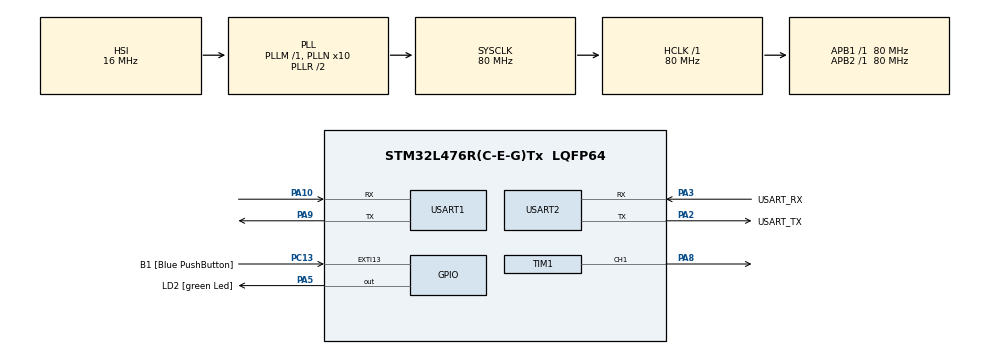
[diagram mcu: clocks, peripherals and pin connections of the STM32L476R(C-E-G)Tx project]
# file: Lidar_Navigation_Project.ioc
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Mcu.Family=STM32L4
Mcu.Name=STM32L476R(C-E-G)Tx
Mcu.Package=LQFP64
NVIC.PriorityGroup=NVIC_PRIORITYGROUP_4
NVIC.USART1_IRQn=true\:0\:0\:false\:false\:true\:true\:true\:true
PA10.Mode=Asynchronous
PA10.Signal=USART1_RX
PA13\ (JTMS-SWDIO).GPIO_Label=TMS
PA13\ (JTMS-SWDIO).Mode=Serial_Wire
PA13\ (JTMS-SWDIO).Signal=SYS_JTMS-SWDIO
PA14\ (JTCK-SWCLK).GPIO_Label=TCK
PA14\ (JTCK-SWCLK).Mode=Serial_Wire
PA14\ (JTCK-SWCLK).Signal=SYS_JTCK-SWCLK
PA2.GPIO_Label=USART_TX
PA2.GPIO_Mode=GPIO_MODE_AF_PP
PA2.GPIO_PuPd=GPIO_NOPULL
PA2.GPIO_Speed=GPIO_SPEED_FREQ_VERY_HIGH
PA2.Mode=Asynchronous
PA2.Signal=USART2_TX
PA3.GPIO_Label=USART_RX
PA3.GPIO_Mode=GPIO_MODE_AF_PP
PA3.GPIO_PuPd=GPIO_NOPULL
PA3.GPIO_Speed=GPIO_SPEED_FREQ_VERY_HIGH
PA3.Mode=Asynchronous
PA3.Signal=USART2_RX
PA5.GPIO_Label=LD2 [green Led]
PA5.GPIO_ModeDefaultOutputPP=GPIO_MODE_OUTPUT_PP
PA5.GPIO_PuPd=GPIO_NOPULL
PA5.GPIO_Speed=GPIO_SPEED_FREQ_LOW
PA5.Signal=GPIO_Output
PA8.Signal=S_TIM1_CH1
PA9.Mode=Asynchronous
PA9.Signal=USART1_TX
PB3\ (JTDO-TRACESWO).GPIO_Label=SWO
PB3\ (JTDO-TRACESWO).Signal=SYS_JTDO-SWO
PC13.GPIO_Label=B1 [Blue PushButton]
PC13.GPIO_ModeDefaultEXTI=GPIO_MODE_IT_FALLING
PC13.GPIO_PuPd=GPIO_NOPULL
PC13.Signal=GPXTI13
PC14-OSC32_IN\ (PC14).Mode=LSE-External-Oscillator
PC14-OSC32_IN\ (PC14).Signal=RCC_OSC32_IN
PC15-OSC32_OUT\ (PC15).Mode=LSE-External-Oscillator
PC15-OSC32_OUT\ (PC15).Signal=RCC_OSC32_OUT
PH0-OSC_IN\ (PH0).Signal=RCC_OSC_IN
PH1-OSC_OUT\ (PH1).Signal=RCC_OSC_OUT
ProjectManager.HeapSize=0x200
ProjectManager.StackSize=0x400
ProjectManager.TargetToolchain=STM32CubeIDE
RCC.ADCFreq_Value=64000000
RCC.AHBFreq_Value=80000000
RCC.APB1Freq_Value=80000000
RCC.APB1TimFreq_Value=80000000
RCC.APB2Freq_Value=80000000
RCC.APB2TimFreq_Value=80000000
RCC.CortexFreq_Value=80000000
RCC.HCLKFreq_Value=80000000
RCC.HSE_VALUE=8000000
RCC.HSI_VALUE=16000000
RCC.MSI_VALUE=4000000
RCC.PLLN=10
RCC.PLLSourceVirtual=RCC_PLLSOURCE_HSI
RCC.PREFETCH_ENABLE=1
RCC.SYSCLKFreq_VALUE=80000000
RCC.SYSCLKSource=RCC_SYSCLKSOURCE_PLLCLK
RCC.USBFreq_Value=64000000
RCC.VCOOutputFreq_Value=160000000
SH.S_TIM1_CH1.0=TIM1_CH1,PWM Generation1 CH1
TIM1.Channel-PWM\ Generation1\ CH1=TIM_CHANNEL_1
TIM1.Period=999
TIM1.Prescaler=79
USART1.VirtualMode-Asynchronous=VM_ASYNC
USART2.VirtualMode-Asynchronous=VM_ASYNC
board=NUCLEO-L476RG

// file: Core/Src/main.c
/* USER CODE BEGIN Header */
/**
  ******************************************************************************
  * @file           : main.c
  * @brief          : Main program body
  ******************************************************************************
  * @attention
  *
  * Copyright (c) 2026 STMicroelectronics.
  * All rights reserved.
  *
  * This software is licensed under terms that can be found in the LICENSE file
  * in the root directory of this software component.
  * If no LICENSE file comes with this software, it is provided AS-IS.
  *
  ******************************************************************************
  */
/* USER CODE END Header */
#include "main.h"

/* USER CODE BEGIN Includes */
#include <stdio.h>
#include <string.h>
/* USER CODE END Includes */

TIM_HandleTypeDef htim1;

UART_HandleTypeDef huart1;
UART_HandleTypeDef huart2;

/* USER CODE BEGIN PV */
float PWM_Duty_Cycle;
int PWM_Period = 1000;

// TF-Luna receive buffer (1 byte at a time)
uint8_t tf_rx_byte;

// Frame buffer (TF-Luna sends 9 bytes per frame)
uint8_t tf_frame[9];
uint8_t tf_index = 0;

// Parsed values
uint16_t tf_distance_cm;
uint16_t tf_strength = 0;
float tf_temperature = 0;

// Message buffer for UART1 (PuTTY)
char msg[100];
/* USER CODE END PV */

void SystemClock_Config(void);
static void MX_GPIO_Init(void);
static void MX_TIM1_Init(void);
static void MX_USART1_UART_Init(void);
static void MX_USART2_UART_Init(void);
/* USER CODE BEGIN PFP */
void TF_Luna_Start(void);
void TF_Luna_Process(uint8_t byte);
void UART_Print(char *str);
void Vibration_Small(void);
/* USER CODE END PFP */

/* USER CODE BEGIN 0 */
// Start receiving TF-Luna data (interrupt mode)
void TF_Luna_Start(void)
{
    HAL_UART_Receive_IT(&huart1, &tf_rx_byte, 1);
}

// Send string to PuTTY via USART1
void UART_Print(char *str)
{
    HAL_UART_Transmit(&huart2, (uint8_t*)str, strlen(str), HAL_MAX_DELAY);
}

// Process incoming TF-Luna bytes
void TF_Luna_Process(uint8_t byte)
{
    static uint8_t prev_byte = 0;

    // Detect header
    if (prev_byte == 0x59 && byte == 0x59)
    {
        tf_frame[0] = 0x59;
        tf_frame[1] = 0x59;
        tf_index = 2;
        prev_byte = byte;
        return;
    }

    prev_byte = byte;

    // Store bytes
    if (tf_index >= 2 && tf_index < 9)
    {
        tf_frame[tf_index++] = byte;
    }
    else
    {
        tf_index = 0;  // RESET if misaligned
    }

    // Process full frame
    if (tf_index == 9)
    {
        uint8_t checksum = 0;
        for (int i = 0; i < 8; i++)
            checksum += tf_frame[i];

        if (checksum == tf_frame[8])
        {
            tf_distance_cm = tf_frame[2] | (tf_frame[3] << 8);
            tf_strength    = tf_frame[4] | (tf_frame[5] << 8);

            uint16_t temp_raw = tf_frame[6] | (tf_frame[7] << 8);
            tf_temperature = (temp_raw / 8.0f) - 256;

            snprintf(msg, sizeof(msg),
                     "Distance: %d cm | Strength: %d | Temp: %.2f C\r\n",
                     tf_distance_cm, tf_strength, tf_temperature);
            UART_Print(msg);
        }

        tf_index = 0;
    }
}

void Vibration_Toggle()
{

	HAL_TIM_PWM_Start(&htim1, TIM_CHANNEL_1);

	// Set duty cycle (50%)
	__HAL_TIM_SET_COMPARE(&htim1, TIM_CHANNEL_1, 500);

	HAL_Delay(2000);

	HAL_TIM_PWM_Stop(&htim1, TIM_CHANNEL_1);
	__HAL_TIM_MOE_DISABLE(&htim1);
}

void Vibration_Three_Buzz()
{
	//Starts PWM and associated timer
	HAL_TIM_PWM_Start(&htim1, TIM_CHANNEL_1);

	//Set duty cycle (100%)
	__HAL_TIM_SET_COMPARE(&htim1, TIM_CHANNEL_1, 500);

	HAL_Delay(240);

	HAL_TIM_PWM_Stop(&htim1, TIM_CHANNEL_1);
	__HAL_TIM_MOE_DISABLE(&htim1);

	HAL_Delay(50);

	HAL_TIM_PWM_Start(&htim1, TIM_CHANNEL_1);

	//Set duty cycle (100%)
	__HAL_TIM_SET_COMPARE(&htim1, TIM_CHANNEL_1, 1000);

	HAL_Delay(240);

	HAL_TIM_PWM_Stop(&htim1, TIM_CHANNEL_1);
	__HAL_TIM_MOE_DISABLE(&htim1);

	HAL_Delay(50);

	HAL_TIM_PWM_Start(&htim1, TIM_CHANNEL_1);

	//Set duty cycle (100%)
	__HAL_TIM_SET_COMPARE(&htim1, TIM_CHANNEL_1, 1000);

	HAL_Delay(240);

	HAL_TIM_PWM_Stop(&htim1, TIM_CHANNEL_1);
	__HAL_TIM_MOE_DISABLE(&htim1);

}

void Vibration_Maximum()
{

	//Set duty cycle (100%)
	__HAL_TIM_SET_COMPARE(&htim1, TIM_CHANNEL_1, 1000);

	HAL_Delay(20);

	__HAL_TIM_MOE_DISABLE(&htim1);
}

void Vibration_Small()
{
	HAL_TIM_PWM_Start(&htim1, TIM_CHANNEL_1);

	//Set duty cycle (43%)
	__HAL_TIM_SET_COMPARE(&htim1, TIM_CHANNEL_1, 430);

	HAL_Delay(20);

	HAL_TIM_PWM_Stop(&htim1, TIM_CHANNEL_1);
	__HAL_TIM_MOE_DISABLE(&htim1);
}

void Vibration_Two_Tone()
{
	HAL_TIM_PWM_Start(&htim1, TIM_CHANNEL_1);

	//Set duty cycle (50%)
	__HAL_TIM_SET_COMPARE(&htim1, TIM_CHANNEL_1, 500);

	HAL_Delay(1000);

	//Set duty cycle (100%)
	__HAL_TIM_SET_COMPARE(&htim1, TIM_CHANNEL_1, 1000);

	HAL_Delay(1000);

	HAL_TIM_PWM_Stop(&htim1, TIM_CHANNEL_1);
	__HAL_TIM_MOE_DISABLE(&htim1);
}

/* USER CODE END 0 */

int main(void)
{

  /* MCU Configuration--------------------------------------------------------*/

  /* Reset of all peripherals, Initializes the Flash interface and the Systick. */
  HAL_Init();

  /* Configure the system clock */
  SystemClock_Config();

  /* Initialize all configured peripherals */
  MX_GPIO_Init();
  MX_TIM1_Init();
  MX_USART1_UART_Init();
  MX_USART2_UART_Init();
  /* USER CODE BEGIN 2 */
  UART_Print("TF-Luna starting...\r\n");
  TF_Luna_Start();
  HAL_TIM_PWM_Start(&htim1, TIM_CHANNEL_1);
  /* USER CODE END 2 */

  /* Infinite loop */
  /* USER CODE BEGIN WHILE */
  while (1)
  {
		  if (tf_distance_cm < 200)
		  	      {
			  PWM_Duty_Cycle = (1 - ((float)tf_distance_cm)/200)*0.65 + 0.35;
				__HAL_TIM_SET_COMPARE(&htim1, TIM_CHANNEL_1, (int)(PWM_Duty_Cycle * PWM_Period));

				HAL_Delay(20);

				__HAL_TIM_MOE_DISABLE(&htim1);
		  	      }
		  else{
			  PWM_Duty_Cycle = 0;
			  __HAL_TIM_SET_COMPARE(&htim1, TIM_CHANNEL_1, (int)(PWM_Duty_Cycle * PWM_Period));
			  HAL_Delay(20);
			  __HAL_TIM_MOE_DISABLE(&htim1);

		  }
    /* USER CODE END WHILE */

  }
}

void SystemClock_Config(void)
{
  RCC_OscInitTypeDef RCC_OscInitStruct = {0};
  RCC_ClkInitTypeDef RCC_ClkInitStruct = {0};

  /** Configure the main internal regulator output voltage
  */
  if (HAL_PWREx_ControlVoltageScaling(PWR_REGULATOR_VOLTAGE_SCALE1) != HAL_OK)
  {
    Error_Handler();
  }

  /** Initializes the RCC Oscillators according to the specified parameters
  * in the RCC_OscInitTypeDef structure.
  */
  RCC_OscInitStruct.OscillatorType = RCC_OSCILLATORTYPE_HSI;
  RCC_OscInitStruct.HSIState = RCC_HSI_ON;
  RCC_OscInitStruct.HSICalibrationValue = RCC_HSICALIBRATION_DEFAULT;
  RCC_OscInitStruct.PLL.PLLState = RCC_PLL_ON;
  RCC_OscInitStruct.PLL.PLLSource = RCC_PLLSOURCE_HSI;
  RCC_OscInitStruct.PLL.PLLM = 1;
  RCC_OscInitStruct.PLL.PLLN = 10;
  RCC_OscInitStruct.PLL.PLLP = RCC_PLLP_DIV7;
  RCC_OscInitStruct.PLL.PLLQ = RCC_PLLQ_DIV2;
  RCC_OscInitStruct.PLL.PLLR = RCC_PLLR_DIV2;
  if (HAL_RCC_OscConfig(&RCC_OscInitStruct) != HAL_OK)
  {
    Error_Handler();
  }

  /** Initializes the CPU, AHB and APB buses clocks
  */
  RCC_ClkInitStruct.ClockType = RCC_CLOCKTYPE_HCLK|RCC_CLOCKTYPE_SYSCLK
                              |RCC_CLOCKTYPE_PCLK1|RCC_CLOCKTYPE_PCLK2;
  RCC_ClkInitStruct.SYSCLKSource = RCC_SYSCLKSOURCE_PLLCLK;
  RCC_ClkInitStruct.AHBCLKDivider = RCC_SYSCLK_DIV1;
  RCC_ClkInitStruct.APB1CLKDivider = RCC_HCLK_DIV1;
  RCC_ClkInitStruct.APB2CLKDivider = RCC_HCLK_DIV1;

  if (HAL_RCC_ClockConfig(&RCC_ClkInitStruct, FLASH_LATENCY_4) != HAL_OK)
  {
    Error_Handler();
  }
}

static void MX_TIM1_Init(void)
{

  TIM_MasterConfigTypeDef sMasterConfig = {0};
  TIM_OC_InitTypeDef sConfigOC = {0};
  TIM_BreakDeadTimeConfigTypeDef sBreakDeadTimeConfig = {0};

  htim1.Instance = TIM1;
  htim1.Init.Prescaler = 79;
  htim1.Init.CounterMode = TIM_COUNTERMODE_UP;
  htim1.Init.Period = 999;
  htim1.Init.ClockDivision = TIM_CLOCKDIVISION_DIV1;
  htim1.Init.RepetitionCounter = 0;
  htim1.Init.AutoReloadPreload = TIM_AUTORELOAD_PRELOAD_DISABLE;
  if (HAL_TIM_PWM_Init(&htim1) != HAL_OK)
  {
    Error_Handler();
  }
  sMasterConfig.MasterOutputTrigger = TIM_TRGO_RESET;
  sMasterConfig.MasterOutputTrigger2 = TIM_TRGO2_RESET;
  sMasterConfig.MasterSlaveMode = TIM_MASTERSLAVEMODE_DISABLE;
  if (HAL_TIMEx_MasterConfigSynchronization(&htim1, &sMasterConfig) != HAL_OK)
  {
    Error_Handler();
  }
  sConfigOC.OCMode = TIM_OCMODE_PWM1;
  sConfigOC.Pulse = 0;
  sConfigOC.OCPolarity = TIM_OCPOLARITY_HIGH;
  sConfigOC.OCNPolarity = TIM_OCNPOLARITY_HIGH;
  sConfigOC.OCFastMode = TIM_OCFAST_DISABLE;
  sConfigOC.OCIdleState = TIM_OCIDLESTATE_RESET;
  sConfigOC.OCNIdleState = TIM_OCNIDLESTATE_RESET;
  if (HAL_TIM_PWM_ConfigChannel(&htim1, &sConfigOC, TIM_CHANNEL_1) != HAL_OK)
  {
    Error_Handler();
  }
  sBreakDeadTimeConfig.OffStateRunMode = TIM_OSSR_DISABLE;
  sBreakDeadTimeConfig.OffStateIDLEMode = TIM_OSSI_DISABLE;
  sBreakDeadTimeConfig.LockLevel = TIM_LOCKLEVEL_OFF;
  sBreakDeadTimeConfig.DeadTime = 0;
  sBreakDeadTimeConfig.BreakState = TIM_BREAK_DISABLE;
  sBreakDeadTimeConfig.BreakPolarity = TIM_BREAKPOLARITY_HIGH;
  sBreakDeadTimeConfig.BreakFilter = 0;
  sBreakDeadTimeConfig.Break2State = TIM_BREAK2_DISABLE;
  sBreakDeadTimeConfig.Break2Polarity = TIM_BREAK2POLARITY_HIGH;
  sBreakDeadTimeConfig.Break2Filter = 0;
  sBreakDeadTimeConfig.AutomaticOutput = TIM_AUTOMATICOUTPUT_DISABLE;
  if (HAL_TIMEx_ConfigBreakDeadTime(&htim1, &sBreakDeadTimeConfig) != HAL_OK)
  {
    Error_Handler();
  }
  HAL_TIM_MspPostInit(&htim1);

}

static void MX_USART1_UART_Init(void)
{

  huart1.Instance = USART1;
  huart1.Init.BaudRate = 115200;
  huart1.Init.WordLength = UART_WORDLENGTH_8B;
  huart1.Init.StopBits = UART_STOPBITS_1;
  huart1.Init.Parity = UART_PARITY_NONE;
  huart1.Init.Mode = UART_MODE_TX_RX;
  huart1.Init.HwFlowCtl = UART_HWCONTROL_NONE;
  huart1.Init.OverSampling = UART_OVERSAMPLING_16;
  huart1.Init.OneBitSampling = UART_ONE_BIT_SAMPLE_DISABLE;
  huart1.AdvancedInit.AdvFeatureInit = UART_ADVFEATURE_NO_INIT;
  if (HAL_UART_Init(&huart1) != HAL_OK)
  {
    Error_Handler();
  }

}

static void MX_USART2_UART_Init(void)
{

  huart2.Instance = USART2;
  huart2.Init.BaudRate = 115200;
  huart2.Init.WordLength = UART_WORDLENGTH_8B;
  huart2.Init.StopBits = UART_STOPBITS_1;
  huart2.Init.Parity = UART_PARITY_NONE;
  huart2.Init.Mode = UART_MODE_TX_RX;
  huart2.Init.HwFlowCtl = UART_HWCONTROL_NONE;
  huart2.Init.OverSampling = UART_OVERSAMPLING_16;
  huart2.Init.OneBitSampling = UART_ONE_BIT_SAMPLE_DISABLE;
  huart2.AdvancedInit.AdvFeatureInit = UART_ADVFEATURE_NO_INIT;
  if (HAL_UART_Init(&huart2) != HAL_OK)
  {
    Error_Handler();
  }

}

static void MX_GPIO_Init(void)
{
  GPIO_InitTypeDef GPIO_InitStruct = {0};

  /* GPIO Ports Clock Enable */
  __HAL_RCC_GPIOC_CLK_ENABLE();
  __HAL_RCC_GPIOH_CLK_ENABLE();
  __HAL_RCC_GPIOA_CLK_ENABLE();
  __HAL_RCC_GPIOB_CLK_ENABLE();

  /*Configure GPIO pin Output Level */
  HAL_GPIO_WritePin(LD2_GPIO_Port, LD2_Pin, GPIO_PIN_RESET);

  /*Configure GPIO pin : B1_Pin */
  GPIO_InitStruct.Pin = B1_Pin;
  GPIO_InitStruct.Mode = GPIO_MODE_IT_FALLING;
  GPIO_InitStruct.Pull = GPIO_NOPULL;
  HAL_GPIO_Init(B1_GPIO_Port, &GPIO_InitStruct);

  /*Configure GPIO pin : LD2_Pin */
  GPIO_InitStruct.Pin = LD2_Pin;
  GPIO_InitStruct.Mode = GPIO_MODE_OUTPUT_PP;
  GPIO_InitStruct.Pull = GPIO_NOPULL;
  GPIO_InitStruct.Speed = GPIO_SPEED_FREQ_LOW;
  HAL_GPIO_Init(LD2_GPIO_Port, &GPIO_InitStruct);

}

/* USER CODE BEGIN 4 */
void HAL_UART_RxCpltCallback(UART_HandleTypeDef *huart)
{
	if (huart->Instance == USART1)
	    {

	        TF_Luna_Process(tf_rx_byte);
	        HAL_UART_Receive_IT(&huart1, &tf_rx_byte, 1);
	    }
}
/* USER CODE END 4 */

void Error_Handler(void)
{
  __disable_irq();
  while (1)
  {
  }
}
